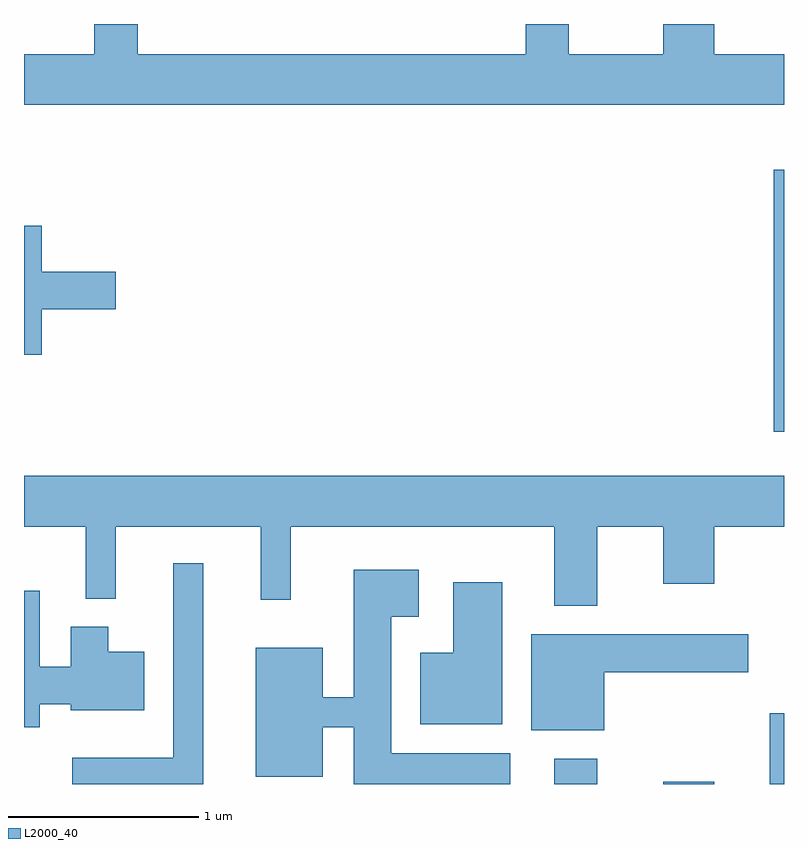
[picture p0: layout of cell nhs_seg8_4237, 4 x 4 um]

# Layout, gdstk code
import gdstk
lib = gdstk.Library(unit=1e-6, precision=1e-09)
def R(c, l, rs):  # rectangles x0, y0, x1, y1
    for r in rs: c.add(gdstk.rectangle(r[:2], r[2:], *l))
def P(c, l, *ps):  # polygons
    for p in ps: c.add(gdstk.Polygon(p, *l))
L2000_40 = (2000, 40)

nhs_seg8_4237 = lib.new_cell('nhs_seg8_4237')
R(nhs_seg8_4237, L2000_40, [(314.401,1888.342,314.629,1888.474), (314.976,1888.342,315.244,1888.354), (315.536,1888.342,315.611,1888.714), (315.556,1890.196,315.611,1891.574)])
P(nhs_seg8_4237, L2000_40, [(315.611,1892.184),(315.244,1892.184),(315.244,1892.342),(314.976,1892.342),(314.976,1892.184),(314.479,1892.184),(314.479,1892.342),(314.251,1892.342),(314.251,1892.184),(312.209,1892.184),(312.209,1892.342),(311.981,1892.342),(311.981,1892.184),(311.611,1892.184),(311.611,1891.916),(315.611,1891.916)],
  [(311.704,1890.841),(312.094,1890.841),(312.094,1891.039),(311.704,1891.039),(311.704,1891.279),(311.611,1891.279),(311.611,1890.601),(311.704,1890.601)],
  [(314.629,1889.696),(314.976,1889.696),(314.976,1889.396),(315.244,1889.396),(315.244,1889.696),(315.611,1889.696),(315.611,1889.964),(311.611,1889.964),(311.611,1889.696),(311.936,1889.696),(311.936,1889.318),(312.094,1889.318),(312.094,1889.696),(312.856,1889.696),(312.856,1889.313),(313.014,1889.313),(313.014,1889.696),(314.401,1889.696),(314.401,1889.281),(314.629,1889.281)],
  [(312.554,1889.503),(312.396,1889.503),(312.396,1888.479),(311.866,1888.479),(311.866,1888.342),(312.554,1888.342)],
  [(314.169,1888.504),(313.544,1888.504),(313.544,1889.221),(313.689,1889.221),(313.689,1889.469),(313.346,1889.469),(313.346,1888.799),(313.184,1888.799),(313.184,1889.059),(312.831,1889.059),(312.831,1888.381),(313.184,1888.381),(313.184,1888.641),(313.346,1888.641),(313.346,1888.342),(314.169,1888.342)],
  [(314.129,1889.404),(313.871,1889.404),(313.871,1889.034),(313.696,1889.034),(313.696,1888.656),(314.129,1888.656)],
  [(311.694,1888.761),(311.856,1888.761),(311.856,1888.731),(312.244,1888.731),(312.244,1889.039),(312.054,1889.039),(312.054,1889.169),(311.856,1889.169),(311.856,1888.959),(311.694,1888.959),(311.694,1889.359),(311.611,1889.359),(311.611,1888.641),(311.694,1888.641)],
  [(314.664,1888.931),(315.424,1888.931),(315.424,1889.129),(314.281,1889.129),(314.281,1888.626),(314.664,1888.626)])

lib.write_gds('nhs_seg8_4237.gds')
